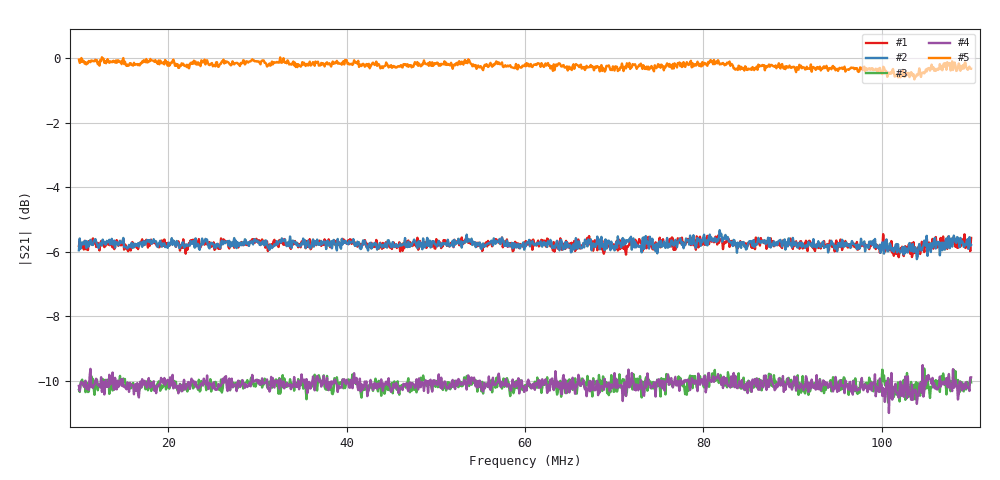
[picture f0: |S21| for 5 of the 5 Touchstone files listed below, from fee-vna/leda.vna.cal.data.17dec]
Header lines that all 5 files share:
! Anritsu VNA Master:  Model: MS2036C/10/77
! SN:  1601066
! Existing Calibration Information:
! TYPE:  Current Settings,  Active Cal Settings
! INTERNAL TEMP:  47.8 C,  46.8 C
! # POINTS:  1087,  1087
! START FREQ:  10.000 MHz,  5.000 kHz
! STOP FREQ:  110.000 MHz,  6.000 GHz
! SOURCE POWER:  Low,  Low
! IFBW:  1 kHz,  1 kHz
! AVG FACTOR:  1 ,  1
! REF PLANE 1:  -6.095 mm,  -6.095 mm
! REF PLANE 2:  0 mm,  0 mm
! CAL TYPE:  Full 2 Port,  Full 2 Port
! CAL METHOD:  SOLT,  SOLT
! CAL LINE TYPE:  Coax,  Coax
! DUT PORT 1:  K-Conn(M),  K-Conn(M)
! DUT PORT 2:  N-Conn(M),  N-Conn(M)
! CAL STATUS:  OK: Accuracy High,  --
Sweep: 10 MHz to 110 MHz
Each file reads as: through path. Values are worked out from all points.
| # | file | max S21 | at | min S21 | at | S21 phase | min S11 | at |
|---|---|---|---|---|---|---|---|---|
| 1 | mar18_6dB.s2p | -5.46 dB | 100.1 MHz | -6.2 dB | 101.9 MHz | 1 deg at 60 MHz | -78.5 dB | 56.04 MHz |
| 2 | mar18_6dB_log.s2p | -5.33 dB | 81.82 MHz | -6.2 dB | 103.9 MHz | 1 deg at 60 MHz | -70.2 dB | 12.03 MHz |
| 3 | mar18_10dB.s2p | -9.62 dB | 104.8 MHz | -10.7 dB | 100.7 MHz | 2 deg at 60 MHz | -61.5 dB | 71.6 MHz |
| 4 | mar18_10dB_log.s2p | -9.51 dB | 104.6 MHz | -11.0 dB | 100.8 MHz | 1 deg at 60 MHz | -45.8 dB | 68.66 MHz |
| 5 | mar18_cable.s2p | 0.03 dB | 12.58 MHz | -0.7 dB | 103.6 MHz | -100 deg at 60 MHz | -63.8 dB | 30.35 MHz |
